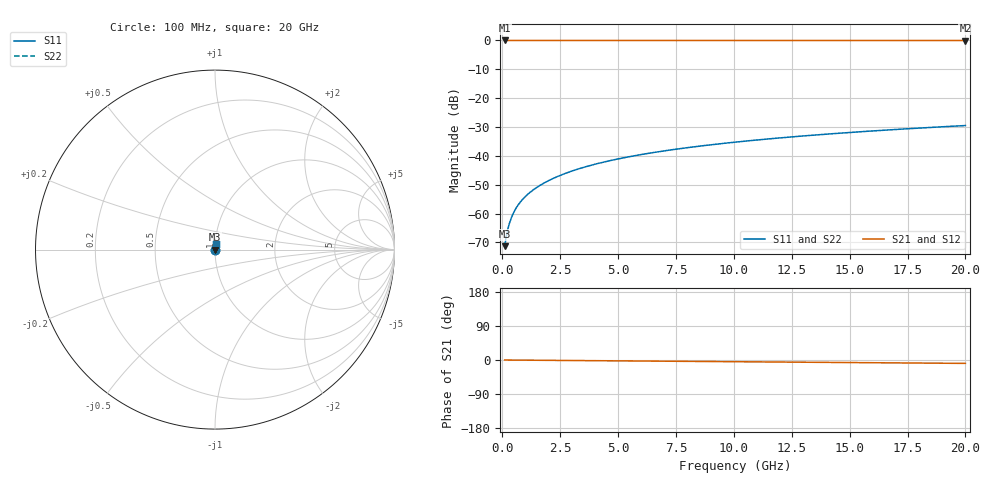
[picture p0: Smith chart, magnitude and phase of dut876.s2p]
! Touchstone file exported from HFSS 2026.1.0
!  File:  C:/ffzhzh/LocalFiles/Ansys_Project_Files/temp_train_TSV_876_1783185648_51560.aedt
!  Generated:  01:22:27 AM Jul  5, 2026
!  Design:  TSV
!  Project:  temp_train_TSV_876_1783185648_51560
! Variables:
!  h_bsmrdl = 2um
!  h_ox = 20um
!  h_rdl = 5um
!  h_sub = 87.21um
!  h_tmrdl = 5um
!  h_tsv = 87.21um
!  h_via = 3um
!  l_bsmrdl = 300um
!  l_sub = 417.38um
!  l_tmrdl = 200um
!  m_sub = 200um
!  pitch = 45.98um
!  r_tsv = 8.69um
!  s_tmrdl = 10um
!  w_bsmrdl = 18um
!  w_sub = 500um
!  w_tmrdl = 12um
!  x_tsv_center1 = 206um
!  x_tsv_center2 = 524um
!  x_tsv_center3 = 736um
!  x_tsv_center4 = 1054um
!  x_tsv_center5 = 1266um
!  x_tsv_center6 = 1584um
# GHz S MA R 50.000000
! Terminal data exported
! Port[1] = TSV1_1_T1
! Port[2] = TSV1_1_T2
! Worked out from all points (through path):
!   200 points, 100 MHz to 20 GHz, reference 50 ohm
!   highest |S21| = 0.00 dB at 100 MHz (marker M1); lowest = 0.0 dB at 20 GHz (marker M2)
!   group delay of S21, straight-line fit = 1.24 ps
!   lowest |S11| = -71.3 dB at 100 MHz (marker M3), VSWR 1.00, Z = 50 + j0.0213 ohm
!   |S11| at or under -10 dB: start of sweep to end of sweep
!   |S22| runs from -71.3 to -29.5 dB; largest |S21 - S12| = 2.1e-15
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0.1  0.0002715 51.8  0.9998 -0.0  0.9998 -0.0  0.0002715 51.8
! Gamma 0 0 0 0
! Port Impedance 50 0 50 0
0.2  0.0004608 67.0  0.9998 -0.1  0.9998 -0.1  0.0004608 67.0
0.3  0.0006613 72.6  0.9998 -0.1  0.9998 -0.1  0.0006613 72.6
0.4  0.0008612 75.2  0.9998 -0.2  0.9998 -0.2  0.0008612 75.2
0.5  0.001057 76.6  0.9998 -0.2  0.9998 -0.2  0.001057 76.6
0.6  0.001249 77.4  0.9997 -0.3  0.9997 -0.3  0.001249 77.4
0.7  0.001436 78.0  0.9997 -0.3  0.9997 -0.3  0.001436 78.0
0.8  0.00162 78.5  0.9997 -0.4  0.9997 -0.4  0.00162 78.5
1  0.001979 79.2  0.9996 -0.5  0.9996 -0.5  0.001979 79.2
1.4  0.002679 80.3  0.9996 -0.6  0.9996 -0.6  0.002679 80.3
1.7  0.003198 81.0  0.9995 -0.8  0.9995 -0.8  0.003198 81.0
2  0.003715 81.5  0.9995 -0.9  0.9995 -0.9  0.003715 81.5
2.7  0.004919 82.3  0.9994 -1.2  0.9994 -1.2  0.004919 82.3
3.5  0.00629 82.7  0.9994 -1.6  0.9994 -1.6  0.00629 82.7
4.2  0.007483 82.8  0.9993 -1.9  0.9993 -1.9  0.007483 82.8
5  0.008839 82.9  0.9992 -2.3  0.9992 -2.3  0.008839 82.9
6.8  0.01186 82.7  0.9991 -3.1  0.9991 -3.1  0.01186 82.7
8.3  0.01436 82.4  0.9989 -3.7  0.9989 -3.7  0.01436 82.4
10.1  0.01734 81.9  0.9988 -4.5  0.9988 -4.5  0.01734 81.9
13.4  0.02277 80.9  0.9985 -6.0  0.9985 -6.0  0.02277 80.9
16.7  0.02815 79.7  0.9982 -7.5  0.9982 -7.5  0.02815 79.7
20  0.03348 78.5  0.9979 -9.0  0.9979 -9.0  0.03348 78.5
